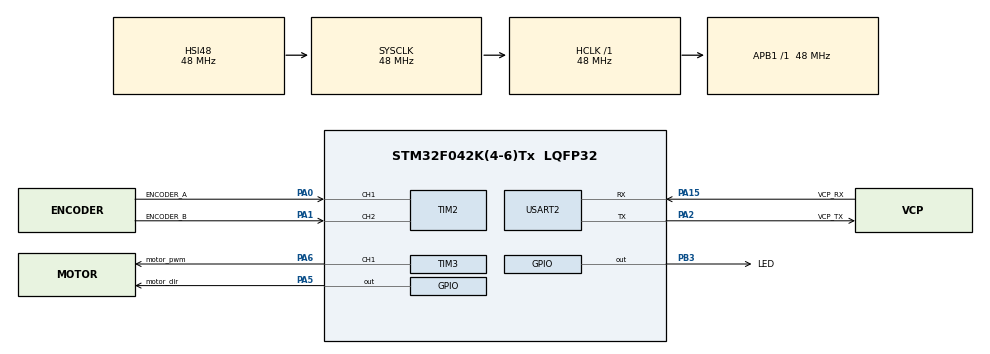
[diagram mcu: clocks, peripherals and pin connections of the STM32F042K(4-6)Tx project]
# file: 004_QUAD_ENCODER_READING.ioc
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Mcu.Family=STM32F0
Mcu.Name=STM32F042K(4-6)Tx
Mcu.Package=LQFP32
NVIC.TIM14_IRQn=true\:0\:0\:false\:false\:true\:true\:true\:true
NVIC.TIM2_IRQn=true\:0\:0\:false\:false\:true\:true\:true\:true
PA0.GPIO_Label=ENCODER_A
PA0.Signal=S_TIM2_CH1_ETR
PA1.GPIO_Label=ENCODER_B
PA1.Signal=S_TIM2_CH2
PA13.GPIO_Label=SWDIO
PA13.Mode=Serial_Wire
PA13.Signal=SYS_SWDIO
PA14.GPIO_Label=SWCLK
PA14.Mode=Serial_Wire
PA14.Signal=SYS_SWCLK
PA15.GPIO_Label=VCP_RX
PA15.Mode=Asynchronous
PA15.Signal=USART2_RX
PA2.GPIO_Label=VCP_TX
PA2.Mode=Asynchronous
PA2.Signal=USART2_TX
PA5.GPIO_Label=motor_dir
PA5.Signal=GPIO_Output
PA6.GPIO_Label=motor_pwm
PA6.Signal=S_TIM3_CH1
PB3.GPIO_Label=LED
PB3.Signal=GPIO_Output
ProjectManager.HeapSize=0x200
ProjectManager.StackSize=0x400
ProjectManager.TargetToolchain=STM32CubeIDE
RCC.AHBFreq_Value=48000000
RCC.APB1Freq_Value=48000000
RCC.APB1TimFreq_Value=48000000
RCC.HCLKFreq_Value=48000000
RCC.SYSCLKFreq_VALUE=48000000
RCC.SYSCLKSource=RCC_SYSCLKSOURCE_HSI48
SH.S_TIM2_CH1_ETR.0=TIM2_CH1,Encoder_Interface
SH.S_TIM2_CH2.0=TIM2_CH2,Encoder_Interface
SH.S_TIM3_CH1.0=TIM3_CH1,PWM Generation1 CH1
TIM14.Period=1000-1
TIM14.Prescaler=4800-1
TIM3.Channel-PWM\ Generation1\ CH1=TIM_CHANNEL_1
TIM3.OCFastMode_PWM-PWM\ Generation1\ CH1=TIM_OCFAST_ENABLE
TIM3.Period=4800-1
TIM3.Prescaler=0
TIM3.Pulse-PWM\ Generation1\ CH1=2400-1
USART2.VirtualMode-Asynchronous=VM_ASYNC
VP_TIM14_VS_ClockSourceINT.Mode=Enable_Timer
board=NUCLEO-F042K6

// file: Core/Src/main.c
/* USER CODE BEGIN Header */
/**
  ******************************************************************************
  * @file           : main.c
  * @brief          : Main program body
  ******************************************************************************
  * @attention
  *
  * Copyright (c) 2023 STMicroelectronics.
  * All rights reserved.
  *
  * This software is licensed under terms that can be found in the LICENSE file
  * in the root directory of this software component.
  * If no LICENSE file comes with this software, it is provided AS-IS.
  *
  ******************************************************************************
  */
/* USER CODE END Header */
#include "main.h"

/* USER CODE BEGIN Includes */
#include "stdbool.h"
#include "math.h"

/* USER CODE END Includes */

TIM_HandleTypeDef htim2;
TIM_HandleTypeDef htim3;
TIM_HandleTypeDef htim14;

UART_HandleTypeDef huart2;

/* USER CODE BEGIN PV */
int64_t encoder_counter = 0;
int64_t encoder_overflow_value = -1 * (int64_t)UINT32_MAX;

/* USER CODE END PV */

void SystemClock_Config(void);
static void MX_GPIO_Init(void);
static void MX_USART2_UART_Init(void);
static void MX_TIM3_Init(void);
static void MX_TIM2_Init(void);
static void MX_TIM14_Init(void);

int main(void)
{

  /* MCU Configuration--------------------------------------------------------*/

  /* Reset of all peripherals, Initializes the Flash interface and the Systick. */
  HAL_Init();

  /* Configure the system clock */
  SystemClock_Config();

  /* Initialize all configured peripherals */
  MX_GPIO_Init();
  MX_USART2_UART_Init();
  MX_TIM3_Init();
  MX_TIM2_Init();
  MX_TIM14_Init();

  /* Infinite loop */
  while (1)
  {

  }
}

void SystemClock_Config(void)
{
  RCC_OscInitTypeDef RCC_OscInitStruct = {0};
  RCC_ClkInitTypeDef RCC_ClkInitStruct = {0};

  /** Initializes the RCC Oscillators according to the specified parameters
  * in the RCC_OscInitTypeDef structure.
  */
  RCC_OscInitStruct.OscillatorType = RCC_OSCILLATORTYPE_HSI48;
  RCC_OscInitStruct.HSI48State = RCC_HSI48_ON;
  RCC_OscInitStruct.PLL.PLLState = RCC_PLL_NONE;
  if (HAL_RCC_OscConfig(&RCC_OscInitStruct) != HAL_OK)
  {
    Error_Handler();
  }

  /** Initializes the CPU, AHB and APB buses clocks
  */
  RCC_ClkInitStruct.ClockType = RCC_CLOCKTYPE_HCLK|RCC_CLOCKTYPE_SYSCLK
                              |RCC_CLOCKTYPE_PCLK1;
  RCC_ClkInitStruct.SYSCLKSource = RCC_SYSCLKSOURCE_HSI48;
  RCC_ClkInitStruct.AHBCLKDivider = RCC_SYSCLK_DIV1;
  RCC_ClkInitStruct.APB1CLKDivider = RCC_HCLK_DIV1;

  if (HAL_RCC_ClockConfig(&RCC_ClkInitStruct, FLASH_LATENCY_1) != HAL_OK)
  {
    Error_Handler();
  }
}

static void MX_TIM2_Init(void)
{

  TIM_Encoder_InitTypeDef sConfig = {0};
  TIM_MasterConfigTypeDef sMasterConfig = {0};

  htim2.Instance = TIM2;
  htim2.Init.Prescaler = 0;
  htim2.Init.CounterMode = TIM_COUNTERMODE_UP;
  htim2.Init.Period = 4294967295;
  htim2.Init.ClockDivision = TIM_CLOCKDIVISION_DIV1;
  htim2.Init.AutoReloadPreload = TIM_AUTORELOAD_PRELOAD_DISABLE;
  sConfig.EncoderMode = TIM_ENCODERMODE_TI1;
  sConfig.IC1Polarity = TIM_ICPOLARITY_RISING;
  sConfig.IC1Selection = TIM_ICSELECTION_DIRECTTI;
  sConfig.IC1Prescaler = TIM_ICPSC_DIV1;
  sConfig.IC1Filter = 0;
  sConfig.IC2Polarity = TIM_ICPOLARITY_RISING;
  sConfig.IC2Selection = TIM_ICSELECTION_DIRECTTI;
  sConfig.IC2Prescaler = TIM_ICPSC_DIV1;
  sConfig.IC2Filter = 0;
  if (HAL_TIM_Encoder_Init(&htim2, &sConfig) != HAL_OK)
  {
    Error_Handler();
  }
  sMasterConfig.MasterOutputTrigger = TIM_TRGO_RESET;
  sMasterConfig.MasterSlaveMode = TIM_MASTERSLAVEMODE_DISABLE;
  if (HAL_TIMEx_MasterConfigSynchronization(&htim2, &sMasterConfig) != HAL_OK)
  {
    Error_Handler();
  }
  /* USER CODE BEGIN TIM2_Init 2 */

  // start encoder functionality
  HAL_TIM_Encoder_Start(&htim2, TIM_CHANNEL_ALL);

  // Set timer overflow interrupt
  HAL_TIM_Base_Start_IT(&htim2);

  /* USER CODE END TIM2_Init 2 */

}

static void MX_TIM3_Init(void)
{

  TIM_MasterConfigTypeDef sMasterConfig = {0};
  TIM_OC_InitTypeDef sConfigOC = {0};

  htim3.Instance = TIM3;
  htim3.Init.Prescaler = 0;
  htim3.Init.CounterMode = TIM_COUNTERMODE_UP;
  htim3.Init.Period = 4800-1;
  htim3.Init.ClockDivision = TIM_CLOCKDIVISION_DIV1;
  htim3.Init.AutoReloadPreload = TIM_AUTORELOAD_PRELOAD_DISABLE;
  if (HAL_TIM_PWM_Init(&htim3) != HAL_OK)
  {
    Error_Handler();
  }
  sMasterConfig.MasterOutputTrigger = TIM_TRGO_RESET;
  sMasterConfig.MasterSlaveMode = TIM_MASTERSLAVEMODE_DISABLE;
  if (HAL_TIMEx_MasterConfigSynchronization(&htim3, &sMasterConfig) != HAL_OK)
  {
    Error_Handler();
  }
  sConfigOC.OCMode = TIM_OCMODE_PWM1;
  sConfigOC.Pulse = 2400-1;
  sConfigOC.OCPolarity = TIM_OCPOLARITY_HIGH;
  sConfigOC.OCFastMode = TIM_OCFAST_ENABLE;
  if (HAL_TIM_PWM_ConfigChannel(&htim3, &sConfigOC, TIM_CHANNEL_1) != HAL_OK)
  {
    Error_Handler();
  }
  /* USER CODE BEGIN TIM3_Init 2 */
  HAL_TIM_PWM_Start(&htim3, TIM_CHANNEL_1);

  /* USER CODE END TIM3_Init 2 */
  HAL_TIM_MspPostInit(&htim3);

}

static void MX_TIM14_Init(void)
{

  htim14.Instance = TIM14;
  htim14.Init.Prescaler = 4800-1;
  htim14.Init.CounterMode = TIM_COUNTERMODE_UP;
  htim14.Init.Period = 1000-1;
  htim14.Init.ClockDivision = TIM_CLOCKDIVISION_DIV1;
  htim14.Init.AutoReloadPreload = TIM_AUTORELOAD_PRELOAD_DISABLE;
  if (HAL_TIM_Base_Init(&htim14) != HAL_OK)
  {
    Error_Handler();
  }
  /* USER CODE BEGIN TIM14_Init 2 */

  // start timer and interrupt
  HAL_TIM_Base_Start_IT(&htim14);
  HAL_NVIC_SetPriority(TIM14_IRQn, 0, 0);
  HAL_NVIC_EnableIRQ(TIM14_IRQn);

  /* USER CODE END TIM14_Init 2 */

}

static void MX_USART2_UART_Init(void)
{

  huart2.Instance = USART2;
  huart2.Init.BaudRate = 38400;
  huart2.Init.WordLength = UART_WORDLENGTH_8B;
  huart2.Init.StopBits = UART_STOPBITS_1;
  huart2.Init.Parity = UART_PARITY_NONE;
  huart2.Init.Mode = UART_MODE_TX_RX;
  huart2.Init.HwFlowCtl = UART_HWCONTROL_NONE;
  huart2.Init.OverSampling = UART_OVERSAMPLING_16;
  huart2.Init.OneBitSampling = UART_ONE_BIT_SAMPLE_DISABLE;
  huart2.AdvancedInit.AdvFeatureInit = UART_ADVFEATURE_NO_INIT;
  if (HAL_UART_Init(&huart2) != HAL_OK)
  {
    Error_Handler();
  }

}

static void MX_GPIO_Init(void)
{
  GPIO_InitTypeDef GPIO_InitStruct = {0};

  /* GPIO Ports Clock Enable */
  __HAL_RCC_GPIOA_CLK_ENABLE();
  __HAL_RCC_GPIOB_CLK_ENABLE();

  /*Configure GPIO pin Output Level */
  HAL_GPIO_WritePin(motor_dir_GPIO_Port, motor_dir_Pin, GPIO_PIN_RESET);

  /*Configure GPIO pin Output Level */
  HAL_GPIO_WritePin(LED_GPIO_Port, LED_Pin, GPIO_PIN_RESET);

  /*Configure GPIO pin : motor_dir_Pin */
  GPIO_InitStruct.Pin = motor_dir_Pin;
  GPIO_InitStruct.Mode = GPIO_MODE_OUTPUT_PP;
  GPIO_InitStruct.Pull = GPIO_NOPULL;
  GPIO_InitStruct.Speed = GPIO_SPEED_FREQ_LOW;
  HAL_GPIO_Init(motor_dir_GPIO_Port, &GPIO_InitStruct);

  /*Configure GPIO pin : LED_Pin */
  GPIO_InitStruct.Pin = LED_Pin;
  GPIO_InitStruct.Mode = GPIO_MODE_OUTPUT_PP;
  GPIO_InitStruct.Pull = GPIO_NOPULL;
  GPIO_InitStruct.Speed = GPIO_SPEED_FREQ_LOW;
  HAL_GPIO_Init(LED_GPIO_Port, &GPIO_InitStruct);

}

/* USER CODE BEGIN 4 */

void HAL_TIM_PeriodElapsedCallback (TIM_HandleTypeDef * htim)
{
	if(htim == &htim2)
	{
		// encoder counter overflow protection

		// check if motor is rotating counter clockwise
		bool counter_clockwise_rotation = (htim->Instance->CR1 & TIM_CR1_DIR);	// expands to non-zero value if motor rotates counter clockwise

		if(counter_clockwise_rotation)
		{
			// substract uint32_t max value
			encoder_overflow_value -= (int64_t)UINT32_MAX;
		}
		else
		{
			// add uint32_t max value
			encoder_overflow_value += (int64_t)UINT32_MAX;
		}

	}
	if(htim == &htim14)
	{
		HAL_GPIO_TogglePin(LED_GPIO_Port, LED_Pin);

		// get current position
		encoder_counter = (int64_t)__HAL_TIM_GET_COUNTER(&htim2) + encoder_overflow_value;
	}
}

/* USER CODE END 4 */

void Error_Handler(void)
{
  __disable_irq();
  while (1)
  {
  }
}
